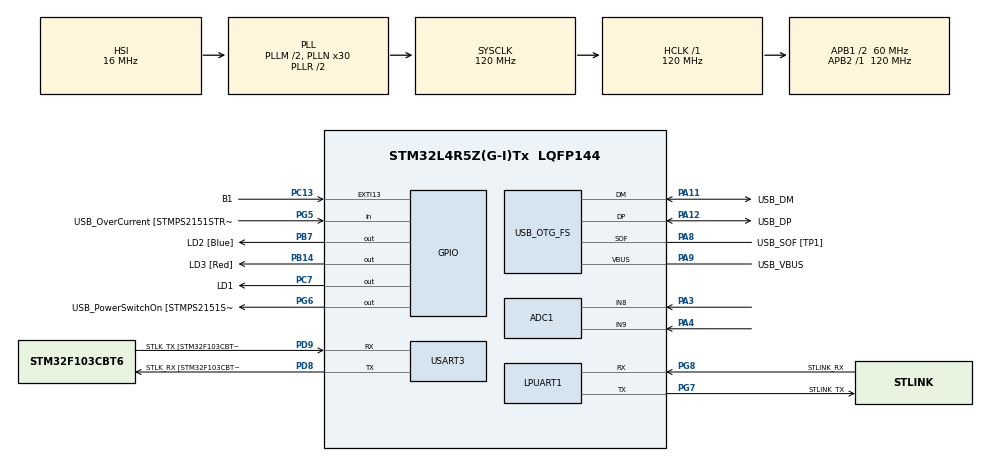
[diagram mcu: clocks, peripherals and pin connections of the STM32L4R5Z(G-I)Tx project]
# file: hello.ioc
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ADC1.Channel-0\#ChannelRegularConversion=ADC_CHANNEL_8
ADC1.NbrOfConversionFlag=1
ADC1.OffsetNumber-0\#ChannelRegularConversion=ADC_OFFSET_NONE
ADC1.Rank-0\#ChannelRegularConversion=1
ADC1.SamplingTime-0\#ChannelRegularConversion=ADC_SAMPLETIME_247CYCLES_5
ADC1.SingleDiff-0\#ChannelRegularConversion=ADC_DIFFERENTIAL_ENDED
ADC1.master=1
Mcu.Family=STM32L4
Mcu.Name=STM32L4R5Z(G-I)Tx
Mcu.Package=LQFP144
NVIC.EXTI15_10_IRQn=true\:0\:0\:false\:false\:true\:true\:true\:true
NVIC.PriorityGroup=NVIC_PRIORITYGROUP_4
NVIC.TIM2_IRQn=true\:0\:0\:false\:false\:true\:true\:true\:true
NVIC.TIM7_IRQn=true\:0\:0\:false\:false\:true\:true\:true\:true
PA10.GPIO_Label=USB_ID
PA10.Signal=USB_OTG_FS_ID
PA11.GPIO_Label=USB_DM
PA11.Mode=Device_Only
PA11.Signal=USB_OTG_FS_DM
PA12.GPIO_Label=USB_DP
PA12.Mode=Device_Only
PA12.Signal=USB_OTG_FS_DP
PA13\ (JTMS/SWDIO).GPIO_Label=TMS
PA13\ (JTMS/SWDIO).Mode=Trace_Asynchronous_SW
PA13\ (JTMS/SWDIO).Signal=SYS_JTMS-SWDIO
PA14\ (JTCK/SWCLK).GPIO_Label=TCK
PA14\ (JTCK/SWCLK).Mode=Trace_Asynchronous_SW
PA14\ (JTCK/SWCLK).Signal=SYS_JTCK-SWCLK
PA3.Signal=ADCx_IN8
PA4.Signal=ADCx_IN9
PA8.GPIO_Label=USB_SOF [TP1]
PA8.Mode=Activate_SOF_FS
PA8.Signal=USB_OTG_FS_SOF
PA9.GPIO_Label=USB_VBUS
PA9.Mode=Activate_VBUS
PA9.Signal=USB_OTG_FS_VBUS
PB14.GPIO_Label=LD3 [Red]
PB14.Signal=GPIO_Output
PB3\ (JTDO/TRACESWO).GPIO_Label=SWO
PB3\ (JTDO/TRACESWO).Mode=Trace_Asynchronous_SW
PB3\ (JTDO/TRACESWO).Signal=SYS_JTDO-SWO
PB7.GPIO_Label=LD2 [Blue]
PB7.Signal=GPIO_Output
PC13.GPIO_Label=B1
PC13.Signal=GPXTI13
PC14-OSC32_IN\ (PC14).Mode=LSE-External-Oscillator
PC14-OSC32_IN\ (PC14).Signal=RCC_OSC32_IN
PC15-OSC32_OUT\ (PC15).Mode=LSE-External-Oscillator
PC15-OSC32_OUT\ (PC15).Signal=RCC_OSC32_OUT
PC7.GPIO_Label=LD1
PC7.Signal=GPIO_Output
PD8.GPIO_Label=STLK_RX [STM32F103CBT6_PA3]
PD8.Mode=Asynchronous
PD8.Signal=USART3_TX
PD9.GPIO_Label=STLK_TX [STM32F103CBT6_PA2]
PD9.Mode=Asynchronous
PD9.Signal=USART3_RX
PG5.GPIO_Label=USB_OverCurrent [STMPS2151STR_FAULT]
PG5.Signal=GPIO_Input
PG6.GPIO_Label=USB_PowerSwitchOn [STMPS2151STR_EN]
PG6.Signal=GPIO_Output
PG7.GPIO_Label=STLINK_TX
PG7.Mode=Asynchronous
PG7.Signal=LPUART1_TX
PG8.GPIO_Label=STLINK_RX
PG8.Mode=Asynchronous
PG8.Signal=LPUART1_RX
PH0-OSC_IN\ (PH0).Signal=RCC_OSC_IN
PH1-OSC_OUT\ (PH1).Signal=RCC_OSC_OUT
ProjectManager.HeapSize=0x200
ProjectManager.StackSize=0x400
ProjectManager.TargetToolchain=STM32CubeIDE
RCC.48MHZClocksFreq_Value=24000000
RCC.ADCFreq_Value=96000000
RCC.AHBFreq_Value=120000000
RCC.APB1CLKDivider=RCC_HCLK_DIV2
RCC.APB1Freq_Value=60000000
RCC.APB1TimFreq_Value=120000000
RCC.APB2Freq_Value=120000000
RCC.APB2TimFreq_Value=120000000
RCC.CK48CLockSelection=RCC_USBCLKSOURCE_HSI48
RCC.CortexFreq_Value=120000000
RCC.HCLKFreq_Value=120000000
RCC.HSE_VALUE=8000000
RCC.HSI48_VALUE=48000000
RCC.HSI_VALUE=16000000
RCC.MSI_VALUE=4000000
RCC.PLLM1=2
RCC.PLLMUL=RCC_PLL_MUL9
RCC.PLLN=30
RCC.PLLSAI1N=12
RCC.PLLSourceVirtual=RCC_PLLSOURCE_HSI
RCC.PRESCALERUSB=RCC_USBCLKSOURCE_PLL_DIV1_5
RCC.SYSCLKFreq_VALUE=120000000
RCC.SYSCLKSource=RCC_SYSCLKSOURCE_PLLCLK
RCC.SYSCLKSourceVirtual=RCC_SYSCLKSOURCE_PLLCLK
RCC.USBFreq_Value=48000000
RCC.VCOOutputFreq_Value=240000000
SH.ADCx_IN8.0=ADC1_IN8,IN8-Differential
SH.ADCx_IN9.0=ADC1_IN9,IN8-Differential
TIM2.AutoReloadPreload=TIM_AUTORELOAD_PRELOAD_ENABLE
TIM2.Period=5000000
TIM2.Prescaler=12-1
TIM2.TIM_MasterOutputTrigger=TIM_TRGO_UPDATE
TIM7.AutoReloadPreload=TIM_AUTORELOAD_PRELOAD_ENABLE
TIM7.Period=10000-1
TIM7.Prescaler=6000-1
TIM7.TIM_MasterOutputTrigger=TIM_TRGO_UPDATE
USART3.VirtualMode-Asynchronous=VM_ASYNC
USB_OTG_FS.VirtualMode=Device_Only
VP_TIM2_VS_ClockSourceINT.Mode=Internal
VP_TIM7_VS_ClockSourceINT.Mode=Enable_Timer
board=NUCLEO-L4R5ZI

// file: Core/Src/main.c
/* USER CODE BEGIN Header */
/**
  ******************************************************************************
  * @file           : main.c
  * @brief          : Main program body
  ******************************************************************************
  * @attention
  *
  * Copyright (c) 2024 STMicroelectronics.
  * All rights reserved.
  *
  * This software is licensed under terms that can be found in the LICENSE file
  * in the root directory of this software component.
  * If no LICENSE file comes with this software, it is provided AS-IS.
  *
  ******************************************************************************
  */
/* USER CODE END Header */
#include "main.h"

ADC_HandleTypeDef hadc1;

UART_HandleTypeDef hlpuart1;
UART_HandleTypeDef huart3;

TIM_HandleTypeDef htim2;
TIM_HandleTypeDef htim7;

PCD_HandleTypeDef hpcd_USB_OTG_FS;

/* USER CODE BEGIN PV */
uint8_t Button1=0;
GPIO_PinState Button;
uint32_t ExecTime=0;
uint32_t ADCData=0;
/* USER CODE END PV */

void SystemClock_Config(void);
static void MX_GPIO_Init(void);
static void MX_LPUART1_UART_Init(void);
static void MX_USART3_UART_Init(void);
static void MX_USB_OTG_FS_PCD_Init(void);
static void MX_TIM7_Init(void);
static void MX_TIM2_Init(void);
static void MX_ADC1_Init(void);

int main(void)
{

  /* MCU Configuration--------------------------------------------------------*/

  /* Reset of all peripherals, Initializes the Flash interface and the Systick. */
  HAL_Init();

  /* Configure the system clock */
  SystemClock_Config();

  /* Initialize all configured peripherals */
  MX_GPIO_Init();
  MX_LPUART1_UART_Init();
  MX_USART3_UART_Init();
  MX_USB_OTG_FS_PCD_Init();
  MX_TIM7_Init();
  MX_TIM2_Init();
  MX_ADC1_Init();
  /* USER CODE BEGIN 2 */
  HAL_TIM_Base_Start_IT(&htim2);

  /* USER CODE END 2 */

  /* Infinite loop */
  while (1)
  {

  }
}

void SystemClock_Config(void)
{
  RCC_OscInitTypeDef RCC_OscInitStruct = {0};
  RCC_ClkInitTypeDef RCC_ClkInitStruct = {0};

  /** Configure the main internal regulator output voltage
  */
  if (HAL_PWREx_ControlVoltageScaling(PWR_REGULATOR_VOLTAGE_SCALE1_BOOST) != HAL_OK)
  {
    Error_Handler();
  }

  /** Initializes the RCC Oscillators according to the specified parameters
  * in the RCC_OscInitTypeDef structure.
  */
  RCC_OscInitStruct.OscillatorType = RCC_OSCILLATORTYPE_HSI48|RCC_OSCILLATORTYPE_HSI;
  RCC_OscInitStruct.HSIState = RCC_HSI_ON;
  RCC_OscInitStruct.HSI48State = RCC_HSI48_ON;
  RCC_OscInitStruct.HSICalibrationValue = RCC_HSICALIBRATION_DEFAULT;
  RCC_OscInitStruct.PLL.PLLState = RCC_PLL_ON;
  RCC_OscInitStruct.PLL.PLLSource = RCC_PLLSOURCE_HSI;
  RCC_OscInitStruct.PLL.PLLM = 2;
  RCC_OscInitStruct.PLL.PLLN = 30;
  RCC_OscInitStruct.PLL.PLLP = RCC_PLLP_DIV2;
  RCC_OscInitStruct.PLL.PLLQ = RCC_PLLQ_DIV2;
  RCC_OscInitStruct.PLL.PLLR = RCC_PLLR_DIV2;
  if (HAL_RCC_OscConfig(&RCC_OscInitStruct) != HAL_OK)
  {
    Error_Handler();
  }

  /** Initializes the CPU, AHB and APB buses clocks
  */
  RCC_ClkInitStruct.ClockType = RCC_CLOCKTYPE_HCLK|RCC_CLOCKTYPE_SYSCLK
                              |RCC_CLOCKTYPE_PCLK1|RCC_CLOCKTYPE_PCLK2;
  RCC_ClkInitStruct.SYSCLKSource = RCC_SYSCLKSOURCE_PLLCLK;
  RCC_ClkInitStruct.AHBCLKDivider = RCC_SYSCLK_DIV1;
  RCC_ClkInitStruct.APB1CLKDivider = RCC_HCLK_DIV2;
  RCC_ClkInitStruct.APB2CLKDivider = RCC_HCLK_DIV1;

  if (HAL_RCC_ClockConfig(&RCC_ClkInitStruct, FLASH_LATENCY_5) != HAL_OK)
  {
    Error_Handler();
  }
}

static void MX_ADC1_Init(void)
{

  ADC_ChannelConfTypeDef sConfig = {0};

  /** Common config
  */
  hadc1.Instance = ADC1;
  hadc1.Init.ClockPrescaler = ADC_CLOCK_ASYNC_DIV2;
  hadc1.Init.Resolution = ADC_RESOLUTION_12B;
  hadc1.Init.DataAlign = ADC_DATAALIGN_RIGHT;
  hadc1.Init.ScanConvMode = ADC_SCAN_DISABLE;
  hadc1.Init.EOCSelection = ADC_EOC_SINGLE_CONV;
  hadc1.Init.LowPowerAutoWait = DISABLE;
  hadc1.Init.ContinuousConvMode = DISABLE;
  hadc1.Init.NbrOfConversion = 1;
  hadc1.Init.DiscontinuousConvMode = DISABLE;
  hadc1.Init.ExternalTrigConv = ADC_SOFTWARE_START;
  hadc1.Init.ExternalTrigConvEdge = ADC_EXTERNALTRIGCONVEDGE_NONE;
  hadc1.Init.DMAContinuousRequests = DISABLE;
  hadc1.Init.Overrun = ADC_OVR_DATA_PRESERVED;
  hadc1.Init.OversamplingMode = DISABLE;
  if (HAL_ADC_Init(&hadc1) != HAL_OK)
  {
    Error_Handler();
  }

  /** Configure Regular Channel
  */
  sConfig.Channel = ADC_CHANNEL_8;
  sConfig.Rank = ADC_REGULAR_RANK_1;
  sConfig.SamplingTime = ADC_SAMPLETIME_247CYCLES_5;
  sConfig.SingleDiff = ADC_SINGLE_ENDED;
  sConfig.OffsetNumber = ADC_OFFSET_NONE;
  sConfig.Offset = 0;
  if (HAL_ADC_ConfigChannel(&hadc1, &sConfig) != HAL_OK)
  {
    Error_Handler();
  }
  /* USER CODE BEGIN ADC1_Init 2 */
  HAL_ADCEx_Calibration_Start(&hadc1, ADC_SINGLE_ENDED);

  /* USER CODE END ADC1_Init 2 */

}

static void MX_LPUART1_UART_Init(void)
{

  hlpuart1.Instance = LPUART1;
  hlpuart1.Init.BaudRate = 209700;
  hlpuart1.Init.WordLength = UART_WORDLENGTH_7B;
  hlpuart1.Init.StopBits = UART_STOPBITS_1;
  hlpuart1.Init.Parity = UART_PARITY_NONE;
  hlpuart1.Init.Mode = UART_MODE_TX_RX;
  hlpuart1.Init.HwFlowCtl = UART_HWCONTROL_NONE;
  hlpuart1.Init.OneBitSampling = UART_ONE_BIT_SAMPLE_DISABLE;
  hlpuart1.Init.ClockPrescaler = UART_PRESCALER_DIV1;
  hlpuart1.AdvancedInit.AdvFeatureInit = UART_ADVFEATURE_NO_INIT;
  hlpuart1.FifoMode = UART_FIFOMODE_DISABLE;
  if (HAL_UART_Init(&hlpuart1) != HAL_OK)
  {
    Error_Handler();
  }
  if (HAL_UARTEx_SetTxFifoThreshold(&hlpuart1, UART_TXFIFO_THRESHOLD_1_8) != HAL_OK)
  {
    Error_Handler();
  }
  if (HAL_UARTEx_SetRxFifoThreshold(&hlpuart1, UART_RXFIFO_THRESHOLD_1_8) != HAL_OK)
  {
    Error_Handler();
  }
  if (HAL_UARTEx_DisableFifoMode(&hlpuart1) != HAL_OK)
  {
    Error_Handler();
  }

}

static void MX_USART3_UART_Init(void)
{

  huart3.Instance = USART3;
  huart3.Init.BaudRate = 115200;
  huart3.Init.WordLength = UART_WORDLENGTH_8B;
  huart3.Init.StopBits = UART_STOPBITS_1;
  huart3.Init.Parity = UART_PARITY_NONE;
  huart3.Init.Mode = UART_MODE_TX_RX;
  huart3.Init.HwFlowCtl = UART_HWCONTROL_NONE;
  huart3.Init.OverSampling = UART_OVERSAMPLING_16;
  huart3.Init.OneBitSampling = UART_ONE_BIT_SAMPLE_DISABLE;
  huart3.Init.ClockPrescaler = UART_PRESCALER_DIV1;
  huart3.AdvancedInit.AdvFeatureInit = UART_ADVFEATURE_NO_INIT;
  if (HAL_UART_Init(&huart3) != HAL_OK)
  {
    Error_Handler();
  }
  if (HAL_UARTEx_SetTxFifoThreshold(&huart3, UART_TXFIFO_THRESHOLD_1_8) != HAL_OK)
  {
    Error_Handler();
  }
  if (HAL_UARTEx_SetRxFifoThreshold(&huart3, UART_RXFIFO_THRESHOLD_1_8) != HAL_OK)
  {
    Error_Handler();
  }
  if (HAL_UARTEx_DisableFifoMode(&huart3) != HAL_OK)
  {
    Error_Handler();
  }

}

static void MX_TIM2_Init(void)
{

  TIM_ClockConfigTypeDef sClockSourceConfig = {0};
  TIM_MasterConfigTypeDef sMasterConfig = {0};

  htim2.Instance = TIM2;
  htim2.Init.Prescaler = 12-1;
  htim2.Init.CounterMode = TIM_COUNTERMODE_UP;
  htim2.Init.Period = 5000000-1;
  htim2.Init.ClockDivision = TIM_CLOCKDIVISION_DIV1;
  htim2.Init.AutoReloadPreload = TIM_AUTORELOAD_PRELOAD_ENABLE;
  if (HAL_TIM_Base_Init(&htim2) != HAL_OK)
  {
    Error_Handler();
  }
  sClockSourceConfig.ClockSource = TIM_CLOCKSOURCE_INTERNAL;
  if (HAL_TIM_ConfigClockSource(&htim2, &sClockSourceConfig) != HAL_OK)
  {
    Error_Handler();
  }
  sMasterConfig.MasterOutputTrigger = TIM_TRGO_UPDATE;
  sMasterConfig.MasterSlaveMode = TIM_MASTERSLAVEMODE_DISABLE;
  if (HAL_TIMEx_MasterConfigSynchronization(&htim2, &sMasterConfig) != HAL_OK)
  {
    Error_Handler();
  }

}

static void MX_TIM7_Init(void)
{

  TIM_MasterConfigTypeDef sMasterConfig = {0};

  htim7.Instance = TIM7;
  htim7.Init.Prescaler = 6000-1;
  htim7.Init.CounterMode = TIM_COUNTERMODE_UP;
  htim7.Init.Period = 10000-1;
  htim7.Init.AutoReloadPreload = TIM_AUTORELOAD_PRELOAD_ENABLE;
  if (HAL_TIM_Base_Init(&htim7) != HAL_OK)
  {
    Error_Handler();
  }
  sMasterConfig.MasterOutputTrigger = TIM_TRGO_UPDATE;
  sMasterConfig.MasterSlaveMode = TIM_MASTERSLAVEMODE_DISABLE;
  if (HAL_TIMEx_MasterConfigSynchronization(&htim7, &sMasterConfig) != HAL_OK)
  {
    Error_Handler();
  }

}

static void MX_USB_OTG_FS_PCD_Init(void)
{

  hpcd_USB_OTG_FS.Instance = USB_OTG_FS;
  hpcd_USB_OTG_FS.Init.dev_endpoints = 6;
  hpcd_USB_OTG_FS.Init.speed = PCD_SPEED_FULL;
  hpcd_USB_OTG_FS.Init.phy_itface = PCD_PHY_EMBEDDED;
  hpcd_USB_OTG_FS.Init.Sof_enable = ENABLE;
  hpcd_USB_OTG_FS.Init.low_power_enable = DISABLE;
  hpcd_USB_OTG_FS.Init.lpm_enable = DISABLE;
  hpcd_USB_OTG_FS.Init.battery_charging_enable = ENABLE;
  hpcd_USB_OTG_FS.Init.use_dedicated_ep1 = DISABLE;
  hpcd_USB_OTG_FS.Init.vbus_sensing_enable = ENABLE;
  if (HAL_PCD_Init(&hpcd_USB_OTG_FS) != HAL_OK)
  {
    Error_Handler();
  }

}

static void MX_GPIO_Init(void)
{
  GPIO_InitTypeDef GPIO_InitStruct = {0};

  /* GPIO Ports Clock Enable */
  __HAL_RCC_GPIOC_CLK_ENABLE();
  __HAL_RCC_GPIOH_CLK_ENABLE();
  __HAL_RCC_GPIOA_CLK_ENABLE();
  __HAL_RCC_GPIOB_CLK_ENABLE();
  __HAL_RCC_GPIOD_CLK_ENABLE();
  __HAL_RCC_GPIOG_CLK_ENABLE();
  HAL_PWREx_EnableVddIO2();

  /*Configure GPIO pin Output Level */
  HAL_GPIO_WritePin(GPIOB, LD3_Pin|LD2_Pin, GPIO_PIN_RESET);

  /*Configure GPIO pin Output Level */
  HAL_GPIO_WritePin(USB_PowerSwitchOn_GPIO_Port, USB_PowerSwitchOn_Pin, GPIO_PIN_RESET);

  /*Configure GPIO pin Output Level */
  HAL_GPIO_WritePin(LD1_GPIO_Port, LD1_Pin, GPIO_PIN_RESET);

  /*Configure GPIO pin : B1_Pin */
  GPIO_InitStruct.Pin = B1_Pin;
  GPIO_InitStruct.Mode = GPIO_MODE_IT_RISING;
  GPIO_InitStruct.Pull = GPIO_NOPULL;
  HAL_GPIO_Init(B1_GPIO_Port, &GPIO_InitStruct);

  /*Configure GPIO pins : LD3_Pin LD2_Pin */
  GPIO_InitStruct.Pin = LD3_Pin|LD2_Pin;
  GPIO_InitStruct.Mode = GPIO_MODE_OUTPUT_PP;
  GPIO_InitStruct.Pull = GPIO_NOPULL;
  GPIO_InitStruct.Speed = GPIO_SPEED_FREQ_LOW;
  HAL_GPIO_Init(GPIOB, &GPIO_InitStruct);

  /*Configure GPIO pin : USB_OverCurrent_Pin */
  GPIO_InitStruct.Pin = USB_OverCurrent_Pin;
  GPIO_InitStruct.Mode = GPIO_MODE_INPUT;
  GPIO_InitStruct.Pull = GPIO_NOPULL;
  HAL_GPIO_Init(USB_OverCurrent_GPIO_Port, &GPIO_InitStruct);

  /*Configure GPIO pin : USB_PowerSwitchOn_Pin */
  GPIO_InitStruct.Pin = USB_PowerSwitchOn_Pin;
  GPIO_InitStruct.Mode = GPIO_MODE_OUTPUT_PP;
  GPIO_InitStruct.Pull = GPIO_NOPULL;
  GPIO_InitStruct.Speed = GPIO_SPEED_FREQ_LOW;
  HAL_GPIO_Init(USB_PowerSwitchOn_GPIO_Port, &GPIO_InitStruct);

  /*Configure GPIO pin : LD1_Pin */
  GPIO_InitStruct.Pin = LD1_Pin;
  GPIO_InitStruct.Mode = GPIO_MODE_OUTPUT_PP;
  GPIO_InitStruct.Pull = GPIO_NOPULL;
  GPIO_InitStruct.Speed = GPIO_SPEED_FREQ_LOW;
  HAL_GPIO_Init(LD1_GPIO_Port, &GPIO_InitStruct);

  /* EXTI interrupt init*/
  HAL_NVIC_SetPriority(EXTI15_10_IRQn, 0, 0);
  HAL_NVIC_EnableIRQ(EXTI15_10_IRQn);

}

/* USER CODE BEGIN 4 */
void HAL_TIM_PeriodElapsedCallback(TIM_HandleTypeDef *htim){
	if (htim==&htim2){
		HAL_ADC_Start(&hadc1);
		HAL_ADC_PollForConversion(&hadc1, 10);
		ADCData = HAL_ADC_GetValue(&hadc1);
		HAL_GPIO_TogglePin(LD1_GPIO_Port, LD1_Pin);
		  if(Button1==0){
			  HAL_GPIO_TogglePin(LD2_GPIO_Port, LD2_Pin);
			  HAL_GPIO_WritePin(LD3_GPIO_Port, LD3_Pin, GPIO_PIN_SET);
		  }else{
			  HAL_GPIO_TogglePin(LD3_GPIO_Port, LD3_Pin);
			  HAL_GPIO_WritePin(LD2_GPIO_Port, LD2_Pin, GPIO_PIN_SET);
		  }
	ExecTime=TIM2->CNT;
	}
}
void HAL_GPIO_EXTI_Callback(uint16_t GPIO_Pin){
	if (GPIO_Pin == B1_Pin){
		if(Button1==1){
			Button1=0;
		}else{
			Button1=1;
		}
	}
}

/* USER CODE END 4 */

void Error_Handler(void)
{
  __disable_irq();
  while (1)
  {
  }
}
